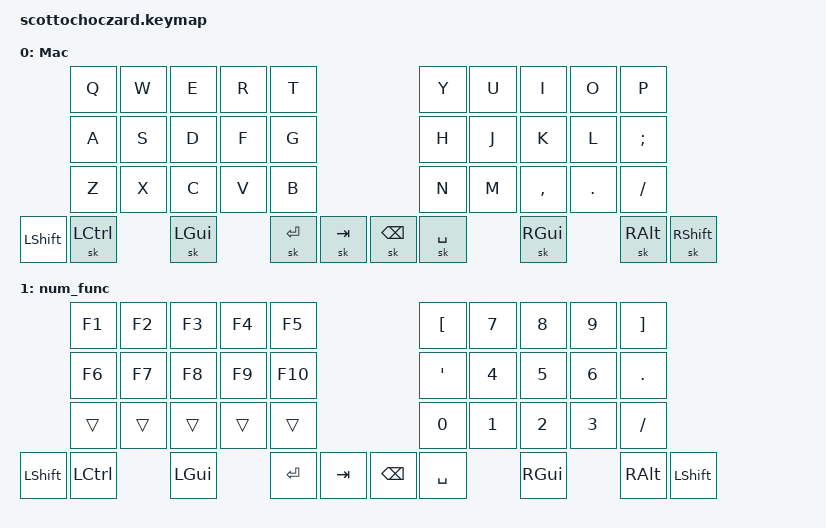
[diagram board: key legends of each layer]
#include <behaviors.dtsi>
#include <dt-bindings/zmk/keys.h>
#include <dt-bindings/zmk/bt.h>

#include <behaviors.dtsi>
#include <dt-bindings/zmk/keys.h>

/ {
    macros {
        alt_sae: alt_sae {
            compatible = "zmk,behavior-macro";
            #binding-cells = <0>;
            bindings = <&kp RA(S) &kp RA(A) &kp RA(E)>;
            label = "ALT_SAE";
        };

        mmattest: mmattest {
            compatible = "zmk,behavior-macro";
            #binding-cells = <0>;
            bindings =
                <&kp DOT &kp M &kp M &kp A &kp T &kp E &kp S &kp T &kp ENTER>,
                <&macro_wait_time 100>,
                <&kp F2>;

            label = "MMATTEST";
        };
    };

    keymap {
        compatible = "zmk,keymap";

        default_layer {
            display-name = "Mac";
            bindings = <
           &kp Q      &kp W  &kp E     &kp R  &kp T                         &kp Y      &kp U  &kp I      &kp O    &kp P
           &kp A      &kp S  &kp D     &kp F  &kp G                         &kp H      &kp J  &kp K      &kp L    &kp SEMI
           &kp Z      &kp X  &kp C     &kp V  &kp B                         &kp N      &kp M  &kp COMMA  &kp DOT  &kp FSLH
&kp LSHFT  &sk LCTRL         &sk LGUI         &sk ENTER  &sk TAB  &sk BSPC  &sk SPACE         &sk RGUI            &sk RALT  &sk RSHFT
            >;
        };

        num_func {
            bindings = <
           &kp F1     &kp F2  &kp F3    &kp F4  &kp F5                        &kp LBKT   &kp N7  &kp N8    &kp N9  &kp RBKT
           &kp F6     &kp F7  &kp F8    &kp F9  &kp F10                       &kp SQT    &kp N4  &kp N5    &kp N6  &kp DOT
           &trans     &trans  &trans    &trans  &trans                        &kp N0     &kp N1  &kp N2    &kp N3  &kp FSLH
&kp LSHFT  &kp LCTRL          &kp LGUI          &kp ENTER  &kp TAB  &kp BSPC  &kp SPACE          &kp RGUI          &kp RALT  &kp LSHFT
            >;
        };
    };
};
